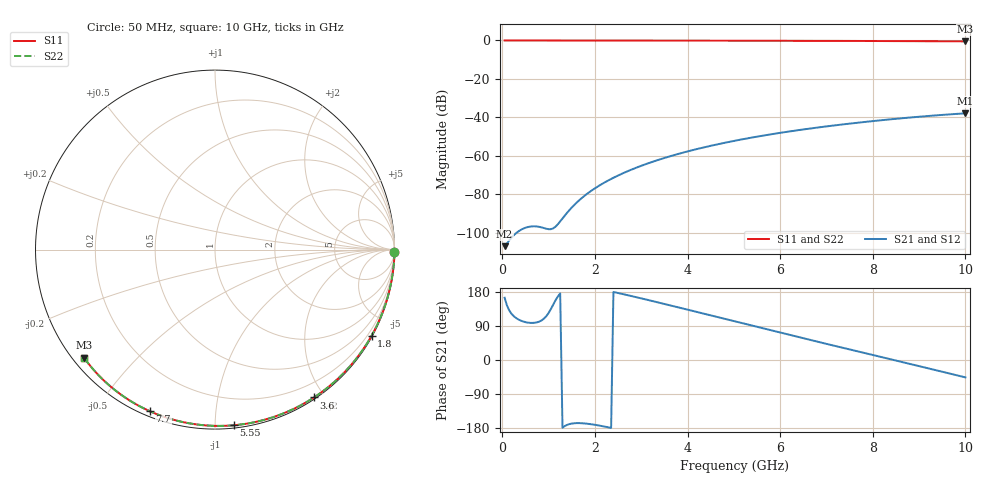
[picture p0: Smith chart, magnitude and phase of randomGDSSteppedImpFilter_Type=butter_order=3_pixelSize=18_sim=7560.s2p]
! freq	dB(S11)	phase(S11)	dB(S12)	phase(S12)
!  dB(S21)	phase(S21)	dB(S22)	phase(S22)
!S-par simulation data
#  GHz  S  DB  R 50
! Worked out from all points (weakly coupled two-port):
!   200 points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, 50 MHz to 10 GHz, reference 50 ohm
!   highest |S21| = -37.90 dB at 10 GHz (marker M1); lowest = -106.9 dB at 50 MHz (marker M2)
!   lowest |S11| = -0.5 dB at 10 GHz (marker M3), VSWR 36.30, Z = 1.56 - j18 ohm
!   |S11| at or under -10 dB: nowhere
!   |S22| runs from -0.5 to 0.0 dB; largest |S21 - S12| = 0
!   S11 on the Smith chart (normalised r, x): 50 MHz: open; 1.8 GHz: 0.03, -3.90; 3.6 GHz: 0.02, -1.87; 5.55 GHz: 0.02, -1.11; 7.7 GHz: 0.02, -0.68; 10 GHz: 0.03, -0.36
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0.05  -0.00 -0.8  -106.94 164.2  -106.94 164.2  -0.00 -0.8
0.45  -0.01 -7.3  -97.85 101.6  -97.85 101.6  -0.01 -7.3
0.9  -0.02 -14.5  -97.53 109.2  -97.53 109.2  -0.02 -14.5
1.75  -0.04 -28.0  -81.24 -167.1  -81.24 -167.1  -0.04 -28.0
1.8  -0.04 -28.8  -80.29 -167.7  -80.29 -167.7  -0.04 -28.8
1.85  -0.04 -29.6  -79.38 -168.4  -79.38 -168.4  -0.04 -29.6
2  -0.04 -31.9  -76.87 -171.0  -76.87 -171.0  -0.04 -31.9
2.15  -0.04 -34.2  -74.64 -174.3  -74.64 -174.3  -0.04 -34.3
2.35  -0.05 -37.3  -71.99 -179.2  -71.99 -179.2  -0.05 -37.4
2.55  -0.05 -40.4  -69.64 175.4  -69.64 175.4  -0.05 -40.4
2.95  -0.06 -46.5  -65.62 164.1  -65.62 164.1  -0.06 -46.5
3.4  -0.07 -53.3  -61.85 150.9  -61.85 150.9  -0.07 -53.3
3.6  -0.08 -56.2  -60.36 144.9  -60.36 144.9  -0.08 -56.2
4.3  -0.09 -66.4  -55.89 123.8  -55.89 123.8  -0.09 -66.4
5.05  -0.12 -77.0  -52.00 101.0  -52.00 101.0  -0.12 -77.0
5.55  -0.14 -83.8  -49.80 85.9  -49.80 85.9  -0.14 -83.9
6.1  -0.16 -91.2  -47.66 69.3  -47.66 69.3  -0.16 -91.3
6.7  -0.19 -99.1  -45.60 51.4  -45.60 51.4  -0.19 -99.2
7.7  -0.26 -111.9  -42.69 22.0  -42.69 22.0  -0.26 -112.0
8.35  -0.31 -120.1  -41.07 3.0  -41.07 3.0  -0.31 -120.1
9.2  -0.39 -130.6  -39.25 -22.0  -39.25 -22.0  -0.39 -130.7
10  -0.48 -140.4  -37.90 -45.9  -37.90 -45.9  -0.48 -140.5
